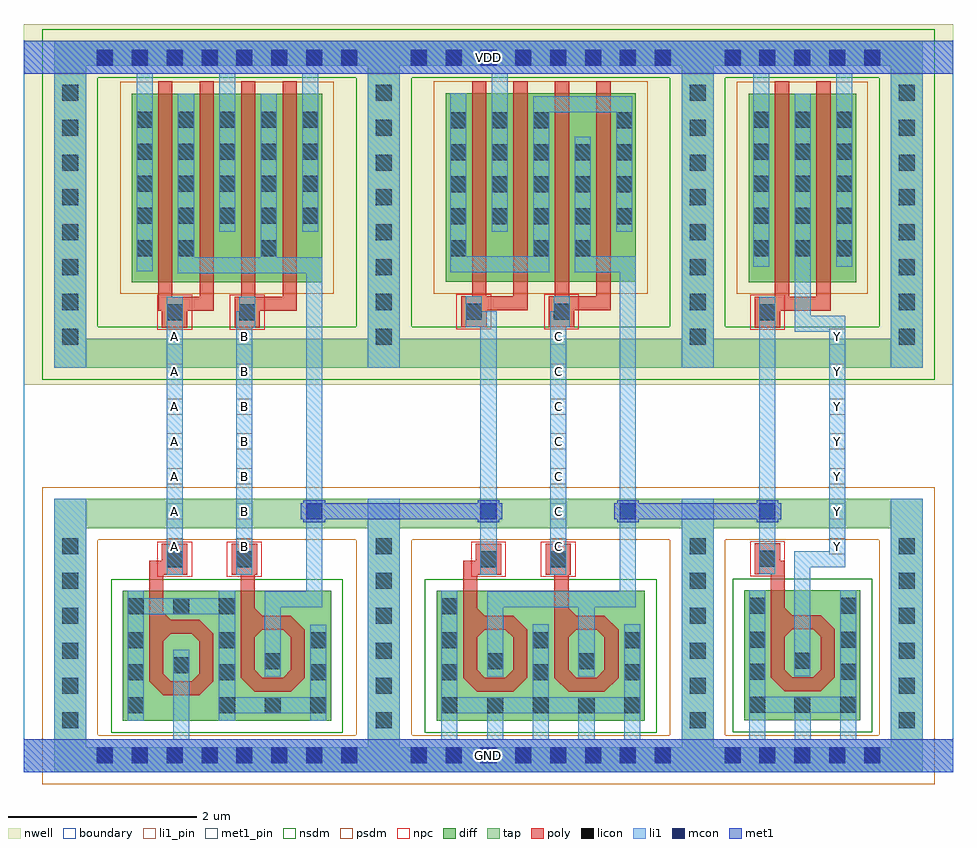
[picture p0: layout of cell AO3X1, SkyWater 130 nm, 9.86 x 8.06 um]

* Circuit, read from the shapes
.subckt AO3X1 A B C GND VDD Y
XM1 n1 A GND GND sky130_fd_pr__nfet_01v8 w=2.6 l=0.1474
XM2 n1 B n2 GND sky130_fd_pr__nfet_01v8 w=2.56 l=0.1478
XM3 GND n2 n3 GND sky130_fd_pr__nfet_01v8 w=2.56 l=0.1456
XM4 GND C n3 GND sky130_fd_pr__nfet_01v8 w=2.56 l=0.1471
XM5 GND n3 Y GND sky130_fd_pr__nfet_01v8 w=2.56 l=0.1486
XM6 n2 A VDD VDD sky130_fd_pr__pfet_01v8 w=2 l=0.15 m=2
XM7 n2 B VDD VDD sky130_fd_pr__pfet_01v8 w=2 l=0.15 m=2
XM8 VDD n2 n4 VDD sky130_fd_pr__pfet_01v8 w=2 l=0.15 m=2
XM9 n3 C n4 VDD sky130_fd_pr__pfet_01v8 w=2 l=0.15 m=2
XM10 Y n3 VDD VDD sky130_fd_pr__pfet_01v8 w=2 l=0.15 m=2
.ends

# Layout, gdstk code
from math import pi, radians
import gdstk
lib = gdstk.Library(unit=1e-6, precision=1e-09)
def R(c, l, rs):  # rectangles x0, y0, x1, y1
    for r in rs: c.add(gdstk.rectangle(r[:2], r[2:], *l))
def A(c, l, x, y, w, h, nx, ny, dx, dy):  # array of equal rectangles
    R(c, l, [(x+i*dx, y+j*dy, x+i*dx+w, y+j*dy+h) for i in range(nx) for j in range(ny)])
def P(c, l, *ps):  # polygons
    for p in ps: c.add(gdstk.Polygon(p, *l))
nwell = (64, 20)
diff = (65, 20)
tap = (65, 44)
poly = (66, 20)
licon = (66, 44)
li1_pin = (67, 16)
li1 = (67, 20)
mcon = (67, 44)
met1_pin = (68, 16)
met1 = (68, 20)
nsdm = (93, 44)
psdm = (94, 20)
npc = (95, 20)
boundary = (235, 4)

li1_m1_contact = lib.new_cell('li1_M1_contact')
R(li1_m1_contact, li1, [(-0.085,-0.165,0.085,0.165)])
R(li1_m1_contact, mcon, [(-0.085,-0.085,0.085,0.085)])
R(li1_m1_contact, met1, [(-0.115,-0.115,0.115,-0.085), (-0.265,-0.085,0.145,0.085), (-0.115,0.085,0.115,0.115)])

poly_li1_contact = lib.new_cell('poly_li1_contact')
R(poly_li1_contact, poly, [(-0.16,-0.14,0.17,0.13)])
R(poly_li1_contact, licon, [(-0.08,-0.09,0.09,0.08)])
R(poly_li1_contact, li1, [(-0.16,-0.09,0.17,0.08)])
R(poly_li1_contact, npc, [(-0.18,-0.19,0.19,0.18)])

pmos2 = lib.new_cell('pmos2')
R(pmos2, nwell, [(0.26,-2.18,1.76,0.18)])
R(pmos2, diff, [(0.44,-2,1.58,0)])
R(pmos2, poly, [(0.72,-2.305,1.31,-2.155), (0.72,-2.155,0.87,0.13), (1.16,-2.155,1.31,0.13)])
A(pmos2, licon, 0.49, -1.38, 0.17, 0.17, 3, 4, 0.44, 0.34)
R(pmos2, li1, [(0.49,-1.465,0.66,0.21), (0.93,-1.465,1.1,0), (1.37,-1.465,1.54,0.21)])
R(pmos2, psdm, [(0.315,-2.125,1.705,0.125)])

nmos_top = lib.new_cell('nmos_top')
R(nmos_top, diff, [(0,0,1.23,1.38)])
R(nmos_top, poly, [(0.42,0.31,0.8,0.46), (0.27,0.46,0.42,0.965), (0.8,0.46,0.95,0.965), (0.42,0.965,0.95,1.115), (0.8,1.115,0.95,1.54)])
P(nmos_top, poly, [(0.72,1.115),(0.8,1.115),(0.8,1.195)],
  [(0.27,0.965),(0.42,0.965),(0.42,1.115)],
  [(0.42,0.885),(0.42,0.965),(0.5,0.965)],
  [(0.72,0.965),(0.8,0.965),(0.8,0.885)],
  [(0.42,0.54),(0.42,0.46),(0.5,0.46)],
  [(0.72,0.46),(0.8,0.46),(0.8,0.54)],
  [(0.27,0.46),(0.42,0.46),(0.42,0.31)],
  [(0.8,0.31),(0.8,0.46),(0.95,0.46)])
R(nmos_top, licon, [(0.04,0.08,0.21,0.25), (0.53,0.08,0.7,0.25), (1.01,0.08,1.18,0.25), (0.04,0.43,0.21,0.6), (1.01,0.43,1.18,0.6), (0.53,0.55,0.7,0.72), (0.04,0.77,0.21,0.94), (1.01,0.77,1.18,0.94), (0.04,1.13,0.21,1.3), (1.01,1.13,1.18,1.3)])
R(nmos_top, li1, [(0.04,0,0.21,0.08), (1.01,0,1.18,0.08), (0.04,0.08,1.18,0.25), (0.04,0.25,0.21,1.38), (1.01,0.25,1.18,1.38), (0.53,0.47,0.7,0.805)])
R(nmos_top, nsdm, [(-0.125,-0.125,1.355,1.505)])

diff_ring_side = lib.new_cell('diff_ring_side')
R(diff_ring_side, nwell, [(-0.435,3.93,0.435,7.75)])
R(diff_ring_side, tap, [(-0.17,-0.17,0.17,2.72), (-0.17,4.11,0.17,7.57)])
A(diff_ring_side, licon, -0.085, 0.285, 0.17, 0.17, 1, 6, 0, 0.37)
A(diff_ring_side, licon, -0.085, 4.355, 0.17, 0.17, 1, 8, 0, 0.37)
R(diff_ring_side, li1, [(-0.17,-0.17,0.17,2.72), (-0.17,4.11,0.17,7.57)])
R(diff_ring_side, met1, [(-0.17,-0.17,0.17,0.17), (-0.17,7.23,0.17,7.57)])
R(diff_ring_side, nsdm, [(-0.295,3.985,0.295,7.695)])
R(diff_ring_side, psdm, [(-0.295,-0.295,0.295,2.845)])

invx1_pcell = lib.new_cell('invx1_pcell')
R(invx1_pcell, nwell, [(-0.435,3.93,2.655,7.75)])
A(invx1_pcell, diff, 0.59, 5.295, 0.17, 0.17, 3, 1, 0.44, 0)
R(invx1_pcell, tap, [(0.17,-0.17,2.05,0.085), (0.17,2.41,2.05,2.72), (0.17,4.11,2.05,4.42), (0.17,7.315,2.05,7.57)])
R(invx1_pcell, poly, [(0.775,1.905,0.925,2.065)])
A(invx1_pcell, licon, 0.285, -0.085, 0.17, 0.17, 5, 2, 0.37, 7.4)
A(invx1_pcell, licon, 0.59, 5.295, 0.17, 0.17, 3, 1, 0.44, 0)
R(invx1_pcell, li1, [(0.17,-0.17,2.05,0.17), (0.545,0.17,0.715,0.45), (1.03,0.17,1.2,0.455), (1.515,0.17,1.685,0.45), (1.025,1.165,1.195,1.995), (1.025,1.995,1.565,2.165), (1.395,2.165,1.565,4.495), (0.655,2.245,0.825,4.54), (1.03,4.495,1.565,4.665), (1.03,4.665,1.2,5.555), (0.59,5.185,0.76,5.555), (1.47,5.185,1.64,5.555), (0.17,7.23,2.05,7.57)])
A(invx1_pcell, mcon, 0.285, -0.085, 0.17, 0.17, 5, 2, 0.37, 7.4)
R(invx1_pcell, met1, [(0.17,-0.17,2.05,0.17), (0.17,7.23,2.05,7.57)])
R(invx1_pcell, nsdm, [(0.045,3.985,2.175,4.545), (0.045,7.19,2.175,7.695)])
R(invx1_pcell, psdm, [(0.045,-0.295,2.175,0.21), (0.045,2.285,2.175,2.845), (0.465,5.17,1.765,5.59)])
invx1_pcell.add(gdstk.Reference(poly_li1_contact, (0.735,2.08), rotation=pi/2))
invx1_pcell.add(gdstk.Reference(poly_li1_contact, (0.745,4.705), rotation=3*pi/2))
invx1_pcell.add(gdstk.Reference(pmos2, (0.1,7.02)))
invx1_pcell.add(gdstk.Reference(nmos_top, (1.725,0.37), rotation=pi, x_reflection=True))
invx1_pcell.add(gdstk.Reference(diff_ring_side, (0,0)))
invx1_pcell.add(gdstk.Reference(diff_ring_side, (2.22,0)))

nmos_top_trim1 = lib.new_cell('nmos_top_trim1')
R(nmos_top_trim1, diff, [(0,0,1.24,1.38)])
R(nmos_top_trim1, poly, [(0.43,0.31,0.81,0.46), (0.28,0.46,0.43,0.965), (0.81,0.46,0.96,0.965), (0.43,0.965,0.96,1.115), (0.81,1.115,0.96,1.545)])
P(nmos_top_trim1, poly, [(0.73,1.115),(0.81,1.115),(0.81,1.195)],
  [(0.28,0.965),(0.43,0.965),(0.43,1.115)],
  [(0.43,0.885),(0.43,0.965),(0.51,0.965)],
  [(0.73,0.965),(0.81,0.965),(0.81,0.885)],
  [(0.43,0.54),(0.43,0.46),(0.51,0.46)],
  [(0.73,0.46),(0.81,0.46),(0.81,0.54)],
  [(0.28,0.46),(0.43,0.46),(0.43,0.31)],
  [(0.81,0.31),(0.81,0.46),(0.96,0.46)])
A(nmos_top_trim1, licon, 0.05, 0.08, 0.17, 0.17, 3, 1, 0.485, 0)
R(nmos_top_trim1, licon, [(0.05,0.43,0.22,0.6), (1.02,0.43,1.19,0.6), (0.535,0.55,0.705,0.72), (0.05,0.77,0.22,0.94), (1.02,0.77,1.19,0.94), (1.02,1.13,1.19,1.3)])
R(nmos_top_trim1, li1, [(0.05,0,0.22,0.08), (1.02,0,1.19,0.08), (0.05,0.08,1.19,0.25), (0.05,0.25,0.22,1.02), (1.02,0.25,1.19,1.38), (0.535,0.47,0.705,0.805)])
R(nmos_top_trim1, nsdm, [(-0.125,-0.125,1.365,1.505)])

pmos2_1 = lib.new_cell('pmos2_1')
R(pmos2_1, nwell, [(0.26,-2.175,1.76,0.185)])
R(pmos2_1, diff, [(0.44,-1.995,1.58,0.005)])
R(pmos2_1, poly, [(0.72,-2.3,1.31,-2.15), (0.72,-2.15,0.87,0.135), (1.16,-2.15,1.31,0.135)])
A(pmos2_1, licon, 0.49, -1.385, 0.17, 0.17, 3, 3, 0.44, 0.34)
A(pmos2_1, li1, 0.49, -1.465, 0.17, 1.01, 3, 1, 0.44, 0)
R(pmos2_1, psdm, [(0.315,-2.12,1.705,0.13)])

nmos_top_trim2 = lib.new_cell('nmos_top_trim2')
R(nmos_top_trim2, diff, [(0,0,1.24,1.38)])
R(nmos_top_trim2, poly, [(0.43,0.31,0.81,0.46), (0.28,0.46,0.43,0.89), (0.81,0.46,0.96,0.89), (0.28,0.89,0.435,0.965), (0.805,0.89,0.96,0.965), (0.43,0.965,0.96,1.115), (0.81,1.115,0.96,1.545)])
P(nmos_top_trim2, poly, [(0.73,1.115),(0.81,1.115),(0.81,1.195)],
  [(0.28,0.965),(0.43,0.965),(0.43,1.115)],
  [(0.435,0.89),(0.435,0.965),(0.51,0.965)],
  [(0.73,0.965),(0.805,0.965),(0.805,0.89)],
  [(0.43,0.54),(0.43,0.46),(0.51,0.46)],
  [(0.73,0.46),(0.81,0.46),(0.81,0.54)],
  [(0.28,0.46),(0.43,0.46),(0.43,0.31)],
  [(0.81,0.31),(0.81,0.46),(0.96,0.46)])
A(nmos_top_trim2, licon, 0.05, 0.08, 0.17, 0.17, 3, 1, 0.485, 0)
R(nmos_top_trim2, licon, [(0.05,0.43,0.22,0.6), (1.02,0.43,1.19,0.6), (0.535,0.55,0.705,0.72), (0.05,0.77,0.22,0.94), (1.02,0.77,1.19,0.94)])
R(nmos_top_trim2, li1, [(0.05,0,0.22,0.08), (1.02,0,1.19,0.08), (0.05,0.08,1.19,0.25), (0.05,0.25,0.22,1.025), (1.02,0.25,1.19,1.025), (0.535,0.47,0.705,0.805)])
R(nmos_top_trim2, nsdm, [(-0.125,-0.125,1.365,1.505)])

nor2x1_pcell = lib.new_cell('nor2x1_pcell')
R(nor2x1_pcell, nwell, [(0.435,3.93,2.895,7.75)])
A(nor2x1_pcell, diff, 0.705, 6.655, 0.17, 0.17, 3, 1, 0.44, 0)
R(nor2x1_pcell, diff, [(0.705,5.295,0.875,5.465), (1.585,5.295,1.755,5.465), (2.025,5.295,2.195,5.465), (2.465,6.655,2.635,6.825)])
R(nor2x1_pcell, tap, [(0.17,-0.17,3.16,0.085), (0.17,2.41,3.16,2.72), (0.17,4.11,3.16,4.42), (0.17,7.315,3.16,7.57)])
R(nor2x1_pcell, poly, [(0.84,1.875,0.99,2.065), (1.81,1.91,1.96,1.915)])
A(nor2x1_pcell, licon, 0.285, -0.085, 0.17, 0.17, 8, 2, 0.37, 7.4)
A(nor2x1_pcell, licon, 0.705, 6.655, 0.17, 0.17, 3, 1, 0.44, 0)
R(nor2x1_pcell, licon, [(0.705,5.295,0.875,5.465), (1.585,5.295,1.755,5.465), (2.025,5.295,2.195,5.465), (2.465,6.655,2.635,6.825)])
A(nor2x1_pcell, li1, 0.61, 0.17, 0.17, 0.195, 3, 1, 0.97, 0)
R(nor2x1_pcell, li1, [(0.17,-0.17,3.16,0.17), (1.095,0.17,1.265,0.445), (2.065,0.17,2.235,0.445), (1.095,1.165,1.265,1.57), (2.065,1.165,2.235,1.57), (1.095,1.57,2.675,1.74), (2.505,1.74,2.675,5.125), (1.025,2.165,1.195,4.71), (1.765,2.165,1.785,2.205), (1.765,2.205,1.935,4.54), (1.765,4.54,1.805,4.71), (0.705,5.125,1.755,5.295), (2.025,5.125,2.675,5.295), (0.705,5.295,0.875,5.555), (1.585,5.295,1.755,5.555), (2.025,5.295,2.195,5.555), (0.705,6.565,0.875,7.025), (1.145,6.565,1.315,7.23), (1.585,6.565,1.755,6.825), (2.465,6.565,2.635,6.825), (1.585,6.825,2.635,6.995), (0.17,7.23,3.16,7.57)])
A(nor2x1_pcell, mcon, 0.285, -0.085, 0.17, 0.17, 8, 2, 0.37, 7.4)
R(nor2x1_pcell, met1, [(0.17,-0.17,3.16,0.17), (0.17,7.23,3.16,7.57)])
R(nor2x1_pcell, nsdm, [(0.045,3.985,3.285,4.545), (0.045,7.19,3.285,7.695)])
R(nor2x1_pcell, psdm, [(0.045,-0.295,3.285,0.21), (0.045,2.285,3.285,2.845), (0.58,5.17,1,5.59), (1.46,5.17,2.32,5.59), (0.58,6.53,1.88,6.95), (2.34,6.53,2.76,6.95)])
nor2x1_pcell.add(gdstk.Reference(diff_ring_side, (0,0)))
nor2x1_pcell.add(gdstk.Reference(nmos_top_trim1, (1.8,0.365), rotation=pi, x_reflection=True))
nor2x1_pcell.add(gdstk.Reference(pmos2_1, (0.215,7.02)))
nor2x1_pcell.add(gdstk.Reference(poly_li1_contact, (0.96,4.71), rotation=3*pi/2))
nor2x1_pcell.add(gdstk.Reference(poly_li1_contact, (1.115,2.085), rotation=3*pi/2))
nor2x1_pcell.add(gdstk.Reference(nmos_top_trim2, (2.77,0.365), rotation=pi, x_reflection=True))
nor2x1_pcell.add(gdstk.Reference(pmos2_1, (1.095,7.02)))
nor2x1_pcell.add(gdstk.Reference(poly_li1_contact, (1.845,2.075), rotation=pi/2))
nor2x1_pcell.add(gdstk.Reference(poly_li1_contact, (1.89,4.71), rotation=3*pi/2))
nor2x1_pcell.add(gdstk.Reference(diff_ring_side, (3.33,0)))

nmos_bottom = lib.new_cell('nmos_bottom')
R(nmos_bottom, diff, [(0,0,1.24,1.38)])
R(nmos_bottom, poly, [(0.43,0.27,0.81,0.42), (0.28,0.42,0.43,0.925), (0.81,0.42,0.96,0.925), (0.43,0.925,0.96,1.075), (0.81,1.075,0.96,1.51)])
P(nmos_bottom, poly, [(0.73,1.075),(0.81,1.075),(0.81,1.155)],
  [(0.28,0.925),(0.43,0.925),(0.43,1.075)],
  [(0.43,0.845),(0.43,0.925),(0.51,0.925)],
  [(0.73,0.925),(0.81,0.925),(0.81,0.845)],
  [(0.43,0.5),(0.43,0.42),(0.51,0.42)],
  [(0.73,0.42),(0.81,0.42),(0.81,0.5)],
  [(0.28,0.42),(0.43,0.42),(0.43,0.27)],
  [(0.81,0.27),(0.81,0.42),(0.96,0.42)])
A(nmos_bottom, licon, 0.05, 1.13, 0.17, 0.17, 3, 1, 0.485, 0)
R(nmos_bottom, licon, [(0.05,0.08,0.22,0.25), (1.02,0.08,1.19,0.25), (0.05,0.43,0.22,0.6), (1.02,0.43,1.19,0.6), (0.535,0.505,0.705,0.675), (0.05,0.77,0.22,0.94), (1.02,0.77,1.19,0.94)])
R(nmos_bottom, li1, [(0.05,0,0.22,1.13), (1.02,0,1.19,1.13), (0.535,0.425,0.705,0.755), (0.05,1.13,1.19,1.3), (0.05,1.3,0.22,1.38), (1.02,1.3,1.19,1.38)])
R(nmos_bottom, nsdm, [(-0.125,-0.125,1.365,1.505)])

nand2x1_pcell = lib.new_cell('nand2x1_pcell')
R(nand2x1_pcell, nwell, [(0.435,3.93,2.895,7.75)])
R(nand2x1_pcell, diff, [(0.705,5.295,0.875,5.465), (1.145,5.295,1.315,5.465), (2.025,5.295,2.195,5.465)])
R(nand2x1_pcell, tap, [(0.17,-0.17,3.16,-0.15), (0.155,-0.15,3.175,0.085), (0.155,2.4,0.17,2.41), (3.16,2.4,3.175,2.41), (0.155,2.41,3.175,2.71), (0.17,2.71,3.16,2.72), (0.17,4.11,3.16,4.42), (0.17,7.315,3.16,7.57)])
R(nand2x1_pcell, poly, [(0.84,1.875,0.99,2.065), (1.81,1.91,1.96,1.915)])
A(nand2x1_pcell, licon, 0.285, -0.085, 0.17, 0.17, 8, 2, 0.37, 7.4)
R(nand2x1_pcell, licon, [(0.705,5.295,0.875,5.465), (1.145,5.295,1.315,5.465), (2.025,5.295,2.195,5.465)])
R(nand2x1_pcell, li1, [(0.17,-0.17,3.16,-0.15), (0.155,-0.15,3.175,0.16), (0.17,0.16,3.16,0.17), (1.095,0.17,1.265,0.835), (2.065,1.165,2.235,1.57), (2.065,1.57,2.675,1.74), (2.505,1.74,2.675,5.115), (1.025,2.165,1.195,4.54), (1.765,2.165,1.785,2.205), (1.765,2.205,1.935,4.54), (1.765,4.54,1.805,4.71), (1.145,5.115,2.675,5.285), (0.705,5.135,0.875,5.555), (1.145,5.285,1.315,5.555), (2.025,5.285,2.195,5.555), (0.17,7.23,3.16,7.57)])
A(nand2x1_pcell, mcon, 0.285, -0.085, 0.17, 0.17, 8, 2, 0.37, 7.4)
R(nand2x1_pcell, met1, [(0.17,-0.17,3.16,-0.15), (0.155,-0.15,3.175,0.16), (0.17,0.16,3.16,0.17), (0.17,7.23,3.16,7.57)])
R(nand2x1_pcell, nsdm, [(0.045,3.985,3.285,4.545), (0.045,7.19,3.285,7.695)])
R(nand2x1_pcell, psdm, [(0.045,-0.295,3.285,-0.275), (0.03,-0.275,3.3,0.21), (0.03,2.275,0.295,2.285), (3.035,2.275,3.3,2.285), (0.03,2.285,3.3,2.835), (0.045,2.835,3.285,2.845), (0.58,5.17,1.44,5.59), (1.9,5.17,2.32,5.59)])
nand2x1_pcell.add(gdstk.Reference(diff_ring_side, (0,0)))
nand2x1_pcell.add(gdstk.Reference(nmos_bottom, (1.8,0.365), rotation=pi, x_reflection=True))
nand2x1_pcell.add(gdstk.Reference(pmos2, (0.215,7.02)))
nand2x1_pcell.add(gdstk.Reference(poly_li1_contact, (1.115,4.705), rotation=3*pi/2))
nand2x1_pcell.add(gdstk.Reference(poly_li1_contact, (1.115,2.085), rotation=3*pi/2))
nand2x1_pcell.add(gdstk.Reference(nmos_top_trim1, (2.77,0.365), rotation=pi, x_reflection=True))
nand2x1_pcell.add(gdstk.Reference(pmos2, (1.095,7.02)))
nand2x1_pcell.add(gdstk.Reference(poly_li1_contact, (1.845,2.075), rotation=pi/2))
nand2x1_pcell.add(gdstk.Reference(poly_li1_contact, (1.885,4.705), rotation=3*pi/2))
nand2x1_pcell.add(gdstk.Reference(diff_ring_side, (3.33,0)))

aoi3x1_pcell = lib.new_cell('aoi3x1_pcell')
R(aoi3x1_pcell, met1, [(2.685,2.505,4.205,2.675)])
aoi3x1_pcell.add(gdstk.Reference(nor2x1_pcell, (3.33,0)))
aoi3x1_pcell.add(gdstk.Reference(nand2x1_pcell, (0,0)))
aoi3x1_pcell.add(gdstk.Reference(li1_m1_contact, (4.44,2.59)))
aoi3x1_pcell.add(gdstk.Reference(li1_m1_contact, (2.59,2.59), rotation=pi))

ao3x1_pcell = lib.new_cell('ao3x1_pcell')
R(ao3x1_pcell, met1, [(6.005,2.505,7.215,2.675)])
ao3x1_pcell.add(gdstk.Reference(li1_m1_contact, (7.4,2.59)))
ao3x1_pcell.add(gdstk.Reference(li1_m1_contact, (5.92,2.59), rotation=pi))
ao3x1_pcell.add(gdstk.Reference(invx1_pcell, (6.66,0)))
ao3x1_pcell.add(gdstk.Reference(aoi3x1_pcell, (0,0)))

ao3x1 = lib.new_cell('AO3X1')
R(ao3x1, nwell, [(0,4.11,0.055,7.93), (9.805,4.11,9.86,7.41), (9.54,7.41,9.86,7.76), (0.775,7.495,0.945,7.665), (9.805,7.76,9.86,7.93), (0,7.93,9.86,7.94)])
R(ao3x1, tap, [(0.32,0,9.54,0.03), (0.4,7.73,6.93,7.75), (0.32,7.75,9.54,7.76)])
A(ao3x1, li1_pin, 1.515, 2.315, 0.17, 0.17, 1, 7, 0, 0.37)
A(ao3x1, li1_pin, 2.255, 2.315, 0.17, 0.17, 1, 7, 0, 0.37)
A(ao3x1, li1_pin, 5.585, 2.315, 0.17, 0.17, 1, 7, 0, 0.37)
A(ao3x1, li1_pin, 8.545, 2.315, 0.17, 0.17, 1, 7, 0, 0.37)
A(ao3x1, li1, 1.515, 2.315, 0.17, 0.17, 1, 7, 0, 0.37)
A(ao3x1, li1, 2.255, 2.315, 0.17, 0.17, 1, 7, 0, 0.37)
A(ao3x1, li1, 5.585, 2.315, 0.17, 0.17, 1, 7, 0, 0.37)
A(ao3x1, li1, 8.545, 2.315, 0.17, 0.17, 1, 7, 0, 0.37)
R(ao3x1, li1, [(0,0,9.86,0.03), (0,0.03,0.32,0.35), (9.54,0.03,9.86,0.35), (0,7.41,0.32,7.75), (9.54,7.41,9.86,7.75), (0,7.75,9.86,7.76)])
R(ao3x1, met1_pin, [(0,0,9.86,0.35), (0,7.41,9.86,7.76)])
R(ao3x1, met1, [(0,0,9.86,0.35), (0,7.41,9.86,7.76)])
R(ao3x1, nsdm, [(0.275,7.605,7.055,7.625), (0.195,7.625,9.665,7.885)])
R(ao3x1, psdm, [(0.195,-0.125,9.665,0.155)])
R(ao3x1, boundary, [(0,0,9.86,7.76)])
ao3x1.add(gdstk.Reference(ao3x1_pcell, (0.49,0.18)))
ao3x1.add(gdstk.Label('Y', (8.63,4.62), layer=67, texttype=5))
ao3x1.add(gdstk.Label('Y', (8.63,2.4), layer=67, texttype=5))
ao3x1.add(gdstk.Label('Y', (8.63,2.77), layer=67, texttype=5))
ao3x1.add(gdstk.Label('Y', (8.63,3.14), layer=67, texttype=5))
ao3x1.add(gdstk.Label('Y', (8.63,3.51), layer=67, texttype=5))
ao3x1.add(gdstk.Label('Y', (8.63,3.88), layer=67, texttype=5))
ao3x1.add(gdstk.Label('Y', (8.63,4.25), layer=67, texttype=5))
ao3x1.add(gdstk.Label('A', (1.6,4.62), layer=67, texttype=5))
ao3x1.add(gdstk.Label('A', (1.6,4.25), layer=67, texttype=5))
ao3x1.add(gdstk.Label('A', (1.6,3.88), layer=67, texttype=5))
ao3x1.add(gdstk.Label('A', (1.6,3.51), layer=67, texttype=5))
ao3x1.add(gdstk.Label('A', (1.6,2.4), layer=67, texttype=5))
ao3x1.add(gdstk.Label('A', (1.6,2.77), layer=67, texttype=5))
ao3x1.add(gdstk.Label('A', (1.6,3.14), layer=67, texttype=5))
ao3x1.add(gdstk.Label('B', (2.34,4.62), layer=67, texttype=5))
ao3x1.add(gdstk.Label('B', (2.34,4.25), layer=67, texttype=5))
ao3x1.add(gdstk.Label('B', (2.34,3.88), layer=67, texttype=5))
ao3x1.add(gdstk.Label('B', (2.34,2.4), layer=67, texttype=5))
ao3x1.add(gdstk.Label('B', (2.34,2.77), layer=67, texttype=5))
ao3x1.add(gdstk.Label('B', (2.34,3.14), layer=67, texttype=5))
ao3x1.add(gdstk.Label('B', (2.34,3.51), layer=67, texttype=5))
ao3x1.add(gdstk.Label('C', (5.67,4.62), layer=67, texttype=5))
ao3x1.add(gdstk.Label('C', (5.67,4.25), layer=67, texttype=5))
ao3x1.add(gdstk.Label('C', (5.67,2.4), layer=67, texttype=5))
ao3x1.add(gdstk.Label('C', (5.67,2.77), layer=67, texttype=5))
ao3x1.add(gdstk.Label('C', (5.67,3.14), layer=67, texttype=5))
ao3x1.add(gdstk.Label('C', (5.67,3.51), layer=67, texttype=5))
ao3x1.add(gdstk.Label('C', (5.67,3.88), layer=67, texttype=5))
ao3x1.add(gdstk.Label('VDD', (4.93,7.585), layer=68, texttype=5))
ao3x1.add(gdstk.Label('GND', (4.93,0.175), layer=68, texttype=5))

lib.write_gds('AO3X1.gds')
